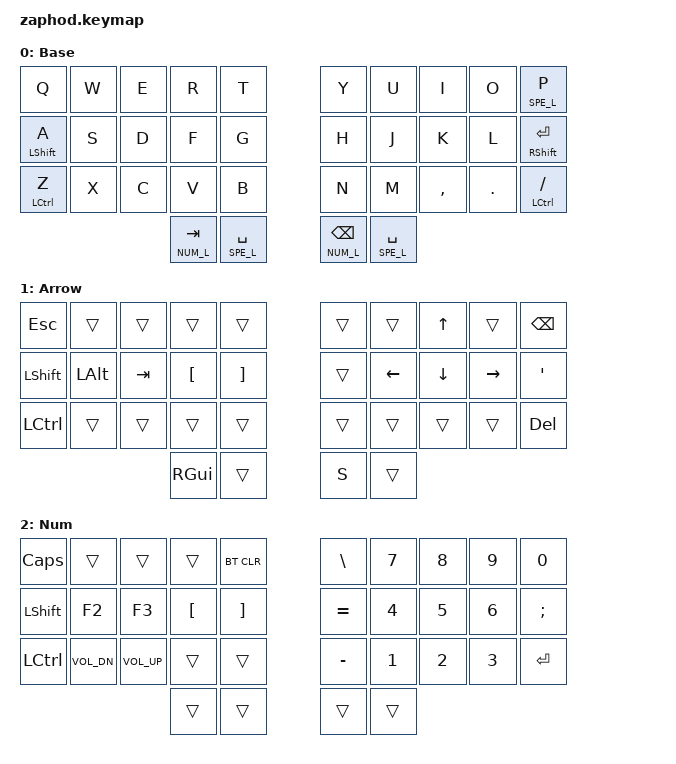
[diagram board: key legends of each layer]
/*
 * Copyright (c) 2021 Pete Johanson
 *
 * SPDX-License-Identifier: MIT
 */

#include <behaviors.dtsi>
#include <dt-bindings/zmk/keys.h>
#include <dt-bindings/zmk/bt.h>
#include <dt-bindings/zmk/outputs.h>

#define SPE_L 1
#define NUM_L 2

// Using layer taps on thumbs, having quick tap as well helps w/ repeating space/backspace
&lt { quick_tap_ms = <200>; };

/ {

    behaviors {
        hm: homerow_mods {
            compatible = "zmk,behavior-hold-tap";
            label = "homerow mods";
            #binding-cells = <2>;
            tapping_term_ms = <200>;
            flavor = "tap-preferred";
            bindings = <&kp>, <&kp>;
        };
    };

    keymap {
        compatible = "zmk,keymap";

        default_layer {
            label = "Base";
            bindings = <
                &kp Q         &kp W      &kp E       &kp R            &kp T            &kp Y            &kp U          &kp I       &kp O      &lt SPE_L P
                &hm LSHFT A   &kp S 	 &kp D 	     &kp F            &kp G            &kp H            &kp J          &kp K       &kp L      &hm RSHFT RET
                &hm LCTRL Z   &kp X      &kp C       &kp V            &kp B            &kp N            &kp M          &kp COMMA   &kp DOT    &hm LCTRL FSLH
                                                     &lt NUM_L TAB    &lt SPE_L SPACE  &lt NUM_L BSPC   &lt SPE_L SPACE
            >;
        };

	spe_layer {
            label = "Arrow";
            bindings = <
	    	&kp ESC    &trans        &trans         &trans        &trans            &trans          &trans         &kp UP      &trans     &kp BSPC
                &kp LSHFT  &kp LALT    	 &kp TAB        &kp LBKT      &kp RBKT          &trans          &kp LEFT       &kp DOWN    &kp RIGHT  &kp SQT
                &kp LCTRL  &trans        &trans         &trans        &trans            &trans          &trans         &trans      &trans     &kp DEL
                                        	        &kp RGUI      &trans    	&kp S           &trans
            >;
        };
	
	num_layer {
            label = "Num";
            bindings = <
	    	&kp CAPS    &trans         &trans         &trans        &bt BT_CLR         &kp BSLH        &kp N7         &kp N8      &kp N9     &kp N0
                &kp LSHFT   &kp F2    	   &kp F3         &kp LBKT      &kp RBKT           &kp EQUAL       &kp N4         &kp N5      &kp N6     &kp SEMI 
                &kp LCTRL   &kp C_VOL_DN   &kp C_VOL_UP   &trans    &trans	           &kp MINUS       &kp N1         &kp N2      &kp N3     &kp RET
                                        	          &trans        &trans             &trans          &trans
            >;
        };
    };
};
